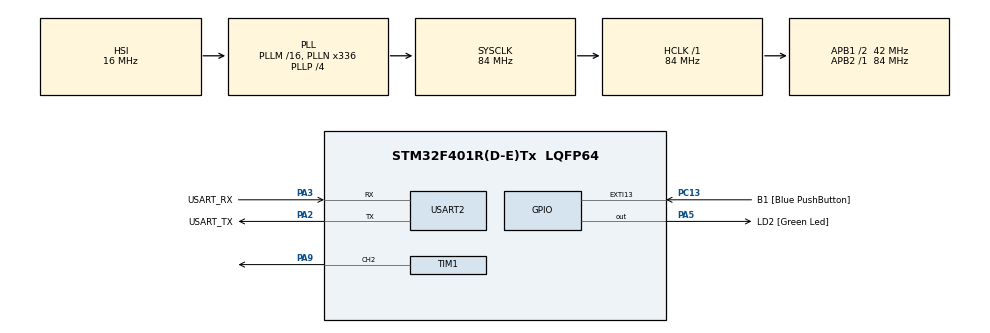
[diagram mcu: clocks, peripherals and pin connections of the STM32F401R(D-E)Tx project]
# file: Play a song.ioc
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Mcu.Family=STM32F4
Mcu.Name=STM32F401R(D-E)Tx
Mcu.Package=LQFP64
NVIC.PriorityGroup=NVIC_PRIORITYGROUP_0
PA13.GPIO_Label=TMS
PA13.Mode=Serial_Wire
PA13.Signal=SYS_JTMS-SWDIO
PA14.GPIO_Label=TCK
PA14.Mode=Serial_Wire
PA14.Signal=SYS_JTCK-SWCLK
PA2.GPIO_Label=USART_TX
PA2.GPIO_Mode=GPIO_MODE_AF_PP
PA2.GPIO_PuPd=GPIO_NOPULL
PA2.GPIO_Speed=GPIO_SPEED_FREQ_LOW
PA2.Mode=Asynchronous
PA2.Signal=USART2_TX
PA3.GPIO_Label=USART_RX
PA3.GPIO_Mode=GPIO_MODE_AF_PP
PA3.GPIO_PuPd=GPIO_NOPULL
PA3.GPIO_Speed=GPIO_SPEED_FREQ_LOW
PA3.Mode=Asynchronous
PA3.Signal=USART2_RX
PA5.GPIO_Label=LD2 [Green Led]
PA5.GPIO_Mode=GPIO_MODE_OUTPUT_PP
PA5.GPIO_PuPd=GPIO_NOPULL
PA5.GPIO_Speed=GPIO_SPEED_FREQ_LOW
PA5.Signal=GPIO_Output
PA9.Signal=S_TIM1_CH2
PB3.GPIO_Label=SWO
PB3.Signal=SYS_JTDO-SWO
PC13-ANTI_TAMP.GPIO_Label=B1 [Blue PushButton]
PC13-ANTI_TAMP.GPIO_ModeDefaultEXTI=GPIO_MODE_IT_FALLING
PC13-ANTI_TAMP.GPIO_PuPd=GPIO_NOPULL
PC13-ANTI_TAMP.Signal=GPXTI13
PC14-OSC32_IN.Mode=LSE-External-Oscillator
PC14-OSC32_IN.Signal=RCC_OSC32_IN
PC15-OSC32_OUT.Mode=LSE-External-Oscillator
PC15-OSC32_OUT.Signal=RCC_OSC32_OUT
PH0\ -\ OSC_IN.Mode=HSE-External-Clock-Source
PH0\ -\ OSC_IN.Signal=RCC_OSC_IN
PH1\ -\ OSC_OUT.Mode=HSE-External-Clock-Source
PH1\ -\ OSC_OUT.Signal=RCC_OSC_OUT
ProjectManager.HeapSize=0x200
ProjectManager.StackSize=0x400
ProjectManager.TargetToolchain=STM32CubeIDE
RCC.48MHZClocksFreq_Value=48000000
RCC.AHBFreq_Value=84000000
RCC.APB1CLKDivider=RCC_HCLK_DIV2
RCC.APB1Freq_Value=42000000
RCC.APB1TimFreq_Value=84000000
RCC.APB2Freq_Value=84000000
RCC.APB2TimFreq_Value=84000000
RCC.CortexFreq_Value=84000000
RCC.HCLKFreq_Value=84000000
RCC.HSE_VALUE=8000000
RCC.HSI_VALUE=16000000
RCC.PLLN=336
RCC.PLLP=RCC_PLLP_DIV4
RCC.PLLQ=7
RCC.SYSCLKFreq_VALUE=84000000
RCC.SYSCLKSource=RCC_SYSCLKSOURCE_PLLCLK
RCC.VCOOutputFreq_Value=336000000
SH.S_TIM1_CH2.0=TIM1_CH2,PWM Generation2 CH2
TIM1.AutoReloadPreload=TIM_AUTORELOAD_PRELOAD_DISABLE
TIM1.Channel-PWM\ Generation2\ CH2=TIM_CHANNEL_2
TIM1.OC2Preload_PWM=DISABLE
TIM1.Period=65535
TIM1.Prescaler=99
TIM1.Pulse-PWM\ Generation2\ CH2=0
USART2.VirtualMode=VM_ASYNC
VP_TIM1_VS_ClockSourceINT.Mode=Internal
board=NUCLEO-F401RE

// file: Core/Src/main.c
/* USER CODE BEGIN Header */
/**
  ******************************************************************************
  * @file           : main.c
  * @brief          : Main program body
  ******************************************************************************
  * @attention
  *
  * Copyright (c) 2022 STMicroelectronics.
  * All rights reserved.
  *
  * This software is licensed under terms that can be found in the LICENSE file
  * in the root directory of this software component.
  * If no LICENSE file comes with this software, it is provided AS-IS.
  *
  ******************************************************************************
  */
/* USER CODE END Header */
#include "main.h"

TIM_HandleTypeDef htim1;

UART_HandleTypeDef huart2;

/* USER CODE BEGIN PV */
struct Note{
	float period;
	float pulse;
};

const struct Note DO = {3206.10687, 1603.053435};
const struct Note DOd = {3032.490975, 1516.245487};
const struct Note RE = {2857.142857, 1428.571429};
const struct Note REd = {2700.96463, 1350.482315};
const struct Note MI = {2545.454545, 1272.727273};
const struct Note FA = {2406.876791, 1203.438395};
const struct Note FAd = {2270.27027, 1135.135135};
const struct Note SOL = {2142.857143, 1071.428571};
const struct Note SOLd = {2024.096386, 1012.048193};
const struct Note LA = {1909.090909, 954.5454545};
const struct Note LAd = {1802.575107, 901.2875536};
const struct Note SI = {1700.404858, 850.2024291};

//a SopngNote represents a single note, with it's height and duration
struct SongNote{
	struct Note height;
	int duration;
};

const int eight = 100;
const int up_eight = 90;
const int down_eight = 10;

const int songLength = 24;
struct SongNote song[] = {{SOL, 3}, {LA, 1}, {SOL, 2}, {FA, 2},
						    {MI, 2}, {FA, 2}, {SOL, 4},
						    {RE, 2}, {MI, 2}, {FA, 4},
						    {MI, 2}, {FA, 2}, {SOL, 4},
						    {SOL, 3}, {LA, 1}, {SOL, 2}, {FA, 2},
						    {MI, 2}, {FA, 2}, {SOL, 4},
						    {RE, 4}, {SOL, 4},
						    {MI, 2}, {DO, 6}};
/* USER CODE END PV */

void SystemClock_Config(void);
static void MX_GPIO_Init(void);
static void MX_USART2_UART_Init(void);
static void MX_TIM1_Init(void);
/* USER CODE BEGIN PFP */
void playSong();
/* USER CODE END PFP */

int main(void)
{

  /* MCU Configuration--------------------------------------------------------*/

  /* Reset of all peripherals, Initializes the Flash interface and the Systick. */
  HAL_Init();

  /* Configure the system clock */
  SystemClock_Config();

  /* Initialize all configured peripherals */
  MX_GPIO_Init();
  MX_USART2_UART_Init();
  MX_TIM1_Init();
  /* USER CODE BEGIN 2 */
  //a music is an array of notes
  playSong();

  /* USER CODE END 2 */

  /* Infinite loop */
  while (1)
  {

  }
}

void SystemClock_Config(void)
{
  RCC_OscInitTypeDef RCC_OscInitStruct = {0};
  RCC_ClkInitTypeDef RCC_ClkInitStruct = {0};

  /** Configure the main internal regulator output voltage
  */
  __HAL_RCC_PWR_CLK_ENABLE();
  __HAL_PWR_VOLTAGESCALING_CONFIG(PWR_REGULATOR_VOLTAGE_SCALE2);

  /** Initializes the RCC Oscillators according to the specified parameters
  * in the RCC_OscInitTypeDef structure.
  */
  RCC_OscInitStruct.OscillatorType = RCC_OSCILLATORTYPE_HSI;
  RCC_OscInitStruct.HSIState = RCC_HSI_ON;
  RCC_OscInitStruct.HSICalibrationValue = RCC_HSICALIBRATION_DEFAULT;
  RCC_OscInitStruct.PLL.PLLState = RCC_PLL_ON;
  RCC_OscInitStruct.PLL.PLLSource = RCC_PLLSOURCE_HSI;
  RCC_OscInitStruct.PLL.PLLM = 16;
  RCC_OscInitStruct.PLL.PLLN = 336;
  RCC_OscInitStruct.PLL.PLLP = RCC_PLLP_DIV4;
  RCC_OscInitStruct.PLL.PLLQ = 7;
  if (HAL_RCC_OscConfig(&RCC_OscInitStruct) != HAL_OK)
  {
    Error_Handler();
  }

  /** Initializes the CPU, AHB and APB buses clocks
  */
  RCC_ClkInitStruct.ClockType = RCC_CLOCKTYPE_HCLK|RCC_CLOCKTYPE_SYSCLK
                              |RCC_CLOCKTYPE_PCLK1|RCC_CLOCKTYPE_PCLK2;
  RCC_ClkInitStruct.SYSCLKSource = RCC_SYSCLKSOURCE_PLLCLK;
  RCC_ClkInitStruct.AHBCLKDivider = RCC_SYSCLK_DIV1;
  RCC_ClkInitStruct.APB1CLKDivider = RCC_HCLK_DIV2;
  RCC_ClkInitStruct.APB2CLKDivider = RCC_HCLK_DIV1;

  if (HAL_RCC_ClockConfig(&RCC_ClkInitStruct, FLASH_LATENCY_2) != HAL_OK)
  {
    Error_Handler();
  }
}

static void MX_TIM1_Init(void)
{

  TIM_ClockConfigTypeDef sClockSourceConfig = {0};
  TIM_MasterConfigTypeDef sMasterConfig = {0};
  TIM_OC_InitTypeDef sConfigOC = {0};
  TIM_BreakDeadTimeConfigTypeDef sBreakDeadTimeConfig = {0};

  htim1.Instance = TIM1;
  htim1.Init.Prescaler = 99;
  htim1.Init.CounterMode = TIM_COUNTERMODE_UP;
  htim1.Init.Period = 65535;
  htim1.Init.ClockDivision = TIM_CLOCKDIVISION_DIV1;
  htim1.Init.RepetitionCounter = 0;
  htim1.Init.AutoReloadPreload = TIM_AUTORELOAD_PRELOAD_DISABLE;
  if (HAL_TIM_Base_Init(&htim1) != HAL_OK)
  {
    Error_Handler();
  }
  sClockSourceConfig.ClockSource = TIM_CLOCKSOURCE_INTERNAL;
  if (HAL_TIM_ConfigClockSource(&htim1, &sClockSourceConfig) != HAL_OK)
  {
    Error_Handler();
  }
  if (HAL_TIM_PWM_Init(&htim1) != HAL_OK)
  {
    Error_Handler();
  }
  sMasterConfig.MasterOutputTrigger = TIM_TRGO_RESET;
  sMasterConfig.MasterSlaveMode = TIM_MASTERSLAVEMODE_DISABLE;
  if (HAL_TIMEx_MasterConfigSynchronization(&htim1, &sMasterConfig) != HAL_OK)
  {
    Error_Handler();
  }
  sConfigOC.OCMode = TIM_OCMODE_PWM1;
  sConfigOC.Pulse = 0;
  sConfigOC.OCPolarity = TIM_OCPOLARITY_HIGH;
  sConfigOC.OCNPolarity = TIM_OCNPOLARITY_HIGH;
  sConfigOC.OCFastMode = TIM_OCFAST_DISABLE;
  sConfigOC.OCIdleState = TIM_OCIDLESTATE_RESET;
  sConfigOC.OCNIdleState = TIM_OCNIDLESTATE_RESET;
  if (HAL_TIM_PWM_ConfigChannel(&htim1, &sConfigOC, TIM_CHANNEL_2) != HAL_OK)
  {
    Error_Handler();
  }
  __HAL_TIM_DISABLE_OCxPRELOAD(&htim1, TIM_CHANNEL_2);
  sBreakDeadTimeConfig.OffStateRunMode = TIM_OSSR_DISABLE;
  sBreakDeadTimeConfig.OffStateIDLEMode = TIM_OSSI_DISABLE;
  sBreakDeadTimeConfig.LockLevel = TIM_LOCKLEVEL_OFF;
  sBreakDeadTimeConfig.DeadTime = 0;
  sBreakDeadTimeConfig.BreakState = TIM_BREAK_DISABLE;
  sBreakDeadTimeConfig.BreakPolarity = TIM_BREAKPOLARITY_HIGH;
  sBreakDeadTimeConfig.AutomaticOutput = TIM_AUTOMATICOUTPUT_DISABLE;
  if (HAL_TIMEx_ConfigBreakDeadTime(&htim1, &sBreakDeadTimeConfig) != HAL_OK)
  {
    Error_Handler();
  }
  HAL_TIM_MspPostInit(&htim1);

}

static void MX_USART2_UART_Init(void)
{

  huart2.Instance = USART2;
  huart2.Init.BaudRate = 115200;
  huart2.Init.WordLength = UART_WORDLENGTH_8B;
  huart2.Init.StopBits = UART_STOPBITS_1;
  huart2.Init.Parity = UART_PARITY_NONE;
  huart2.Init.Mode = UART_MODE_TX_RX;
  huart2.Init.HwFlowCtl = UART_HWCONTROL_NONE;
  huart2.Init.OverSampling = UART_OVERSAMPLING_16;
  if (HAL_UART_Init(&huart2) != HAL_OK)
  {
    Error_Handler();
  }

}

static void MX_GPIO_Init(void)
{
  GPIO_InitTypeDef GPIO_InitStruct = {0};

  /* GPIO Ports Clock Enable */
  __HAL_RCC_GPIOC_CLK_ENABLE();
  __HAL_RCC_GPIOH_CLK_ENABLE();
  __HAL_RCC_GPIOA_CLK_ENABLE();
  __HAL_RCC_GPIOB_CLK_ENABLE();

  /*Configure GPIO pin Output Level */
  HAL_GPIO_WritePin(LD2_GPIO_Port, LD2_Pin, GPIO_PIN_RESET);

  /*Configure GPIO pin : B1_Pin */
  GPIO_InitStruct.Pin = B1_Pin;
  GPIO_InitStruct.Mode = GPIO_MODE_IT_FALLING;
  GPIO_InitStruct.Pull = GPIO_NOPULL;
  HAL_GPIO_Init(B1_GPIO_Port, &GPIO_InitStruct);

  /*Configure GPIO pin : LD2_Pin */
  GPIO_InitStruct.Pin = LD2_Pin;
  GPIO_InitStruct.Mode = GPIO_MODE_OUTPUT_PP;
  GPIO_InitStruct.Pull = GPIO_NOPULL;
  GPIO_InitStruct.Speed = GPIO_SPEED_FREQ_LOW;
  HAL_GPIO_Init(LD2_GPIO_Port, &GPIO_InitStruct);

}

/* USER CODE BEGIN 4 */
void playNote(struct SongNote songNote){
	__HAL_TIM_SET_AUTORELOAD(&htim1, songNote.height.period);
	__HAL_TIM_SET_COMPARE(&htim1, TIM_CHANNEL_2, songNote.height.pulse);
	HAL_TIM_PWM_Start(&htim1, TIM_CHANNEL_2);
	HAL_Delay(songNote.duration*up_eight);
	HAL_TIM_PWM_Stop(&htim1, TIM_CHANNEL_2);
	HAL_Delay(songNote.duration*down_eight);
}

void playSong(){
	for(int i = 0; i < songLength; i++){
		playNote(song[i]);
	}
}
/* USER CODE END 4 */

void Error_Handler(void)
{
  __disable_irq();
  while (1)
  {
  }
}
